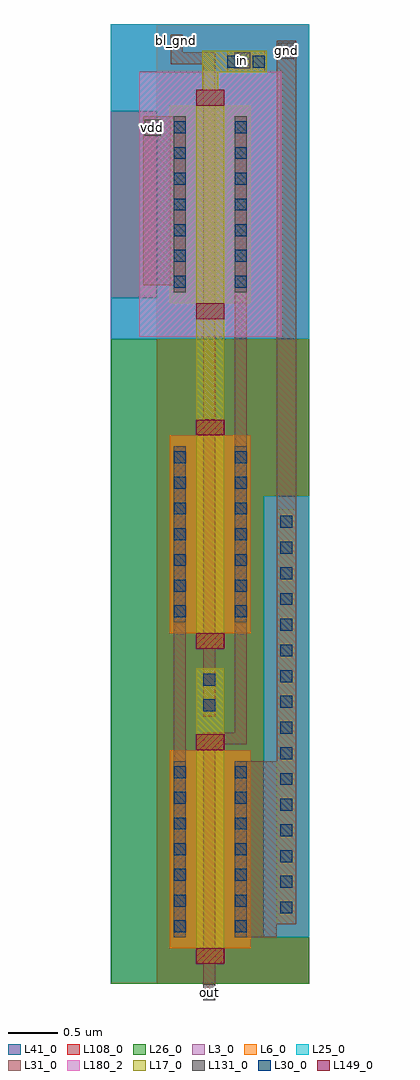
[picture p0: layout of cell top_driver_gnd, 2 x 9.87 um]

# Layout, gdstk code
from math import pi, radians
import gdstk
lib = gdstk.Library(unit=1e-6, precision=1e-09)
def R(c, l, rs):  # rectangles x0, y0, x1, y1
    for r in rs: c.add(gdstk.rectangle(r[:2], r[2:], *l))
def A(c, l, x, y, w, h, nx, ny, dx, dy):  # array of equal rectangles
    R(c, l, [(x+i*dx, y+j*dy, x+i*dx+w, y+j*dy+h) for i in range(nx) for j in range(ny)])
L3_0 = (3, 0)
L6_0 = (6, 0)
L17_0 = (17, 0)
L25_0 = (25, 0)
L26_0 = (26, 0)
L30_0 = (30, 0)
L31_0 = (31, 0)
L41_0 = (41, 0)
L108_0 = (108, 0)
L131_0 = (131, 0)
L149_0 = (149, 0)
L180_2 = (180, 2)

pc_ct = lib.new_cell('pc_ct')
R(pc_ct, L30_0, [(0,0,0.12,0.12)])

psvt25_cdns_586304018580 = lib.new_cell('psvt25_CDNS_586304018580')
R(psvt25_cdns_586304018580, L3_0, [(-0.58,-0.34,0.86,2.34)])
R(psvt25_cdns_586304018580, L6_0, [(-0.27,0,0,2), (-0.27,0,0.55,2), (0.28,0,0.55,2)])
R(psvt25_cdns_586304018580, L17_0, [(0,-0.16,0.28,2.16)])
R(psvt25_cdns_586304018580, L25_0, [(-0.4,-0.36,0.68,2.36)])
R(psvt25_cdns_586304018580, L31_0, [(-0.23,0.11,-0.11,1.89), (0.39,0.11,0.51,1.89)])
R(psvt25_cdns_586304018580, L41_0, [(-0.58,-0.34,0.86,2.34)])
R(psvt25_cdns_586304018580, L131_0, [(-0.23,0.11,-0.11,1.89), (0.39,0.11,0.51,1.89)])
R(psvt25_cdns_586304018580, L149_0, [(0,-0.16,0.28,0), (0,2,0.28,2.16)])
R(psvt25_cdns_586304018580, L180_2, [(-0.58,-0.34,0.86,2.34)])
r = gdstk.Reference(pc_ct, (0.39,0.16)); r.repetition = gdstk.Repetition(1, 7, v1=(0.26,0), v2=(0,0.26)); psvt25_cdns_586304018580.add(r)
r = gdstk.Reference(pc_ct, (-0.23,0.16)); r.repetition = gdstk.Repetition(1, 7, v1=(0.26,0), v2=(0,0.26)); psvt25_cdns_586304018580.add(r)
psvt25_cdns_586304018580.add(gdstk.Label('d', (0.28,0), layer=6, texttype=0))
psvt25_cdns_586304018580.add(gdstk.Label('s', (0,0), layer=6, texttype=0))
psvt25_cdns_586304018580.add(gdstk.Label('d', (0.415,1), layer=127, texttype=0))
psvt25_cdns_586304018580.add(gdstk.Label('s', (-0.135,1), layer=127, texttype=0))
psvt25_cdns_586304018580.add(gdstk.Label('d', (0.45,1), layer=131, texttype=0))
psvt25_cdns_586304018580.add(gdstk.Label('s', (-0.17,1), layer=131, texttype=0))
psvt25_cdns_586304018580.add(gdstk.Label('g', (0.14,2.08), layer=149, texttype=0))
psvt25_cdns_586304018580.add(gdstk.Label('g', (0.14,-0.08), layer=149, texttype=0))
psvt25_cdns_586304018580.add(gdstk.Label('b', (0.14,1), layer=180, texttype=2))

nsvt25_cdns_586304018581 = lib.new_cell('nsvt25_CDNS_586304018581')
R(nsvt25_cdns_586304018581, L6_0, [(-0.27,0,0,2), (-0.27,0,0.55,2), (0.28,0,0.55,2)])
R(nsvt25_cdns_586304018581, L17_0, [(0,-0.16,0.28,2.16)])
R(nsvt25_cdns_586304018581, L26_0, [(-0.4,-0.36,0.68,2.36)])
R(nsvt25_cdns_586304018581, L31_0, [(-0.23,0.11,-0.11,1.89), (0.39,0.11,0.51,1.89)])
R(nsvt25_cdns_586304018581, L41_0, [(-0.54,-0.34,0.82,2.34)])
R(nsvt25_cdns_586304018581, L131_0, [(-0.23,0.11,-0.11,1.89), (0.39,0.11,0.51,1.89)])
R(nsvt25_cdns_586304018581, L149_0, [(0,-0.16,0.28,0), (0,2,0.28,2.16)])
r = gdstk.Reference(pc_ct, (0.39,0.16)); r.repetition = gdstk.Repetition(1, 7, v1=(0.26,0), v2=(0,0.26)); nsvt25_cdns_586304018581.add(r)
r = gdstk.Reference(pc_ct, (-0.23,0.16)); r.repetition = gdstk.Repetition(1, 7, v1=(0.26,0), v2=(0,0.26)); nsvt25_cdns_586304018581.add(r)
nsvt25_cdns_586304018581.add(gdstk.Label('d', (0.28,0), layer=6, texttype=0))
nsvt25_cdns_586304018581.add(gdstk.Label('s', (0,0), layer=6, texttype=0))
nsvt25_cdns_586304018581.add(gdstk.Label('d', (0.415,1), layer=127, texttype=0))
nsvt25_cdns_586304018581.add(gdstk.Label('s', (-0.135,1), layer=127, texttype=0))
nsvt25_cdns_586304018581.add(gdstk.Label('d', (0.45,1), layer=131, texttype=0))
nsvt25_cdns_586304018581.add(gdstk.Label('s', (-0.17,1), layer=131, texttype=0))
nsvt25_cdns_586304018581.add(gdstk.Label('g', (0.14,2.08), layer=149, texttype=0))
nsvt25_cdns_586304018581.add(gdstk.Label('g', (0.14,-0.08), layer=149, texttype=0))

m1__po_cdns_586304018580 = lib.new_cell('M1__PO_CDNS_586304018580')
R(m1__po_cdns_586304018580, L17_0, [(-0.08,-0.24,0.08,0.24)])
R(m1__po_cdns_586304018580, L30_0, [(-0.06,-0.19,0.06,-0.07), (-0.06,0.07,0.06,0.19)])
R(m1__po_cdns_586304018580, L31_0, [(-0.06,-0.24,0.06,0.24)])

m1__po_cdns_586304018581 = lib.new_cell('M1__PO_CDNS_586304018581')
R(m1__po_cdns_586304018581, L17_0, [(-0.21,-0.11,0.21,0.11)])
R(m1__po_cdns_586304018581, L30_0, [(-0.19,-0.06,-0.07,0.06), (0.07,-0.06,0.19,0.06)])
R(m1__po_cdns_586304018581, L31_0, [(-0.19,-0.11,0.19,0.11)])

top_driver_gnd = lib.new_cell('top_driver_gnd')
R(top_driver_gnd, L3_0, [(-0.325,6.455,1.68,9.64)])
R(top_driver_gnd, L17_0, [(0.6,9.31,0.83,9.37)])
R(top_driver_gnd, L25_0, [(-0.32,6.455,0.14,6.87), (1.22,6.455,1.68,9.175), (-0.325,8.76,0.14,9.175), (-0.325,9.175,1.68,9.64)])
R(top_driver_gnd, L26_0, [(-0.32,-0.065,0.14,6.455), (1.22,-0.065,1.68,0.405), (0.14,2.655,1.22,2.94), (0.14,2.94,1.22,3.12), (1.22,4.865,1.68,6.455), (0.14,5.84,1.22,6.455), (-0.325,6.87,0.14,8.76)])
A(top_driver_gnd, L30_0, 1.39, 0.645, 0.12, 0.12, 1, 16, 0, 0.26)
R(top_driver_gnd, L31_0, [(1.05,0.405,1.355,2.185), (0.005,7,0.31,8.705)])
R(top_driver_gnd, L41_0, [(-0.325,-0.065,1.68,9.64)])
R(top_driver_gnd, L108_0, [(0.14,-0.065,1.68,9.64)])
R(top_driver_gnd, L131_0, [(0.61,-0.23,0.73,-0.07), (0.02,8.51,0.18,8.67), (0.925,9.195,1.085,9.355), (1.37,9.29,1.53,9.45), (0.28,9.41,0.4,9.53)])
top_driver_gnd.add(gdstk.FlexPath([(1.45,4.735),(1.45,0.535)], 0.2, ends="flush", simple_path=True, layer=6, datatype=0))  # L6_0
top_driver_gnd.add(gdstk.FlexPath([(0.37,3.59),(0.37,2.185)], 0.12, ends="flush", simple_path=True, layer=31, datatype=0))  # L31_0
top_driver_gnd.add(gdstk.FlexPath([(0.34,9.295),(0.34,9.53)], 0.12, ends=(0.06, 0), simple_path=True, layer=31, datatype=0))  # L31_0
top_driver_gnd.add(gdstk.FlexPath([(0.67,9.295),(0.34,9.295)], 0.12, ends="extended", simple_path=True, layer=31, datatype=0))  # L31_0
top_driver_gnd.add(gdstk.FlexPath([(0.67,2.88),(0.67,9.295)], 0.12, ends=(0, 0.06), simple_path=True, layer=31, datatype=0))  # L31_0
top_driver_gnd.add(gdstk.FlexPath([(0.99,3.59),(0.99,2.415)], 0.12, ends=(0, 0.06), simple_path=True, layer=31, datatype=0))  # L31_0
top_driver_gnd.add(gdstk.FlexPath([(0.99,2.415),(0.67,2.415)], 0.12, ends="extended", simple_path=True, layer=31, datatype=0))  # L31_0
top_driver_gnd.add(gdstk.FlexPath([(0.67,2.415),(0.67,-0.23)], 0.12, ends=(0.06, 0), simple_path=True, layer=31, datatype=0))  # L31_0
top_driver_gnd.add(gdstk.FlexPath([(1.45,4.735),(1.45,9.47)], 0.2, ends="flush", simple_path=True, layer=31, datatype=0))  # L31_0
top_driver_gnd.add(gdstk.FlexPath([(0.99,6.925),(0.99,5.37)], 0.12, ends="flush", simple_path=True, layer=31, datatype=0))  # L31_0
top_driver_gnd.add(gdstk.FlexPath([(1.45,4.735),(1.45,0.535)], 0.2, ends="flush", simple_path=True, layer=31, datatype=0))  # L31_0
top_driver_gnd.add(gdstk.FlexPath([(0.68,8.975),(0.68,9.23)], 0.16, ends=(0, 0.08), simple_path=True, layer=17, datatype=0))  # L17_0
top_driver_gnd.add(gdstk.FlexPath([(0.68,9.23),(1.2,9.23)], 0.16, ends=(0.08, 0), simple_path=True, layer=17, datatype=0))  # L17_0
top_driver_gnd.add(gdstk.FlexPath([(0.68,2.455),(0.68,3.125)], 0.28, ends="flush", simple_path=True, layer=17, datatype=0))  # L17_0
top_driver_gnd.add(gdstk.FlexPath([(0.68,6.655),(0.68,5.57)], 0.28, ends="flush", simple_path=True, layer=17, datatype=0))  # L17_0
top_driver_gnd.add(gdstk.FlexPath([(1.45,4.865),(1.45,0.405)], 0.46, ends="flush", simple_path=True, layer=25, datatype=0))  # L25_0
top_driver_gnd.add(gdstk.Reference(psvt25_cdns_586304018580, (0.54,6.815)))
top_driver_gnd.add(gdstk.Reference(nsvt25_cdns_586304018581, (0.54,3.48)))
top_driver_gnd.add(gdstk.Reference(nsvt25_cdns_586304018581, (0.82,0.295), rotation=pi, x_reflection=True))
top_driver_gnd.add(gdstk.Reference(m1__po_cdns_586304018580, (0.67,2.88)))
top_driver_gnd.add(gdstk.Reference(m1__po_cdns_586304018581, (1.04,9.26), rotation=pi))
top_driver_gnd.add(gdstk.Label('vdd', (0.1,8.59), layer=131, texttype=0))
top_driver_gnd.add(gdstk.Label('out', (0.67,-0.15), layer=131, texttype=0))
top_driver_gnd.add(gdstk.Label('bl_gnd', (0.34,9.47), layer=131, texttype=0))
top_driver_gnd.add(gdstk.Label('gnd', (1.45,9.37), layer=131, texttype=0))
top_driver_gnd.add(gdstk.Label('in', (1.005,9.275), layer=131, texttype=0))

lib.write_gds('top_driver_gnd.gds')
